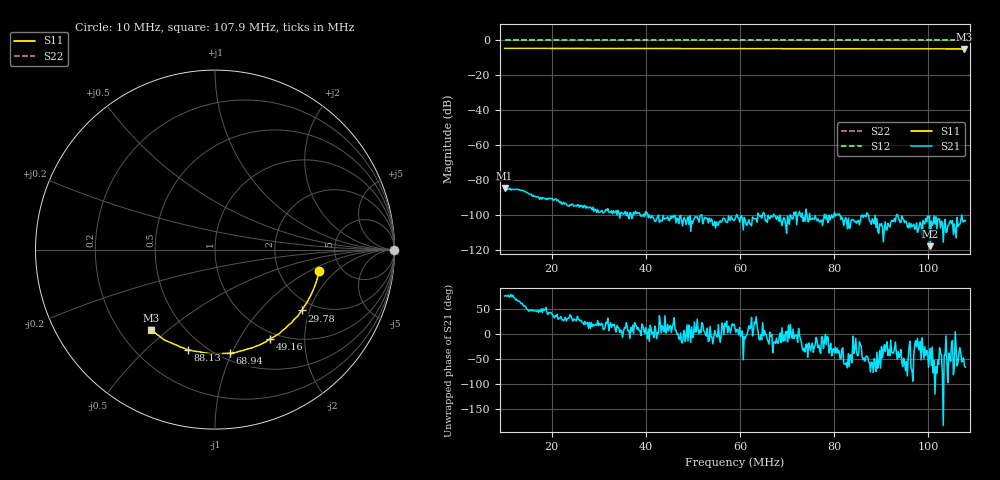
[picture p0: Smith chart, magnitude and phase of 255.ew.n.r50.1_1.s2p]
! Anritsu VNA Master:  Model: MS2036C/10/77
! SN:  1601066
! /card0/usr/255.ew.n.r50.1_1.s2p
! Existing Calibration Information:
! TYPE:  Current Settings,  Active Cal Settings
! TIME:  12/17/2017 06:46:24 PM,  12/17/2017 06:38:14 PM
! INTERNAL TEMP:  43.5 C,  43.8 C
! # POINTS:  501,  501
! START FREQ:  10.000 MHz,  10.000 MHz
! STOP FREQ:  107.903 125 MHz,  107.903 125 MHz
! SOURCE POWER:  High,  High
! IFBW:  100 Hz,  100 Hz
! AVG FACTOR:  1 ,  1
! REF PLANE 1:  0 mm,  0 mm
! REF PLANE 2:  0 mm,  0 mm
! CAL TYPE:  Full S11,  Full S11
! CAL METHOD:  SOLT,  SOLT
! CAL LINE TYPE:  Coax,  Coax
! DUT PORT 1:  N-Conn(F),  N-Conn(F)
! DUT PORT 2:  K-Conn(F),  K-Conn(F)
! CAL STATUS:  OK: Accuracy High,  --
# GHZ S DB R 50.0
! FREQ.GHZ  S11DB  S11A  S21DB  S21A  S12DB  S12A  S22DB  S22A
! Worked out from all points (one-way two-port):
!   501 points, 10 MHz to 107.9 MHz, reference 50 ohm
!   highest |S21| = -84.30 dB at 10 MHz (marker M1); lowest = -117.6 dB at 100.5 MHz (marker M2)
!   lowest |S11| = -4.9 dB at 107.7 MHz (marker M3), VSWR 3.66, Z = 16.5 - j22 ohm
!   |S11| at or under -10 dB: nowhere
!   |S22| runs from 0.0 to 0.0 dB; largest |S21 - S12| = 1
!   S11 on the Smith chart (normalised r, x): 10 MHz: 3.41, -1.26; 29.78 MHz: 1.71, -1.78; 49.16 MHz: 0.91, -1.37; 68.94 MHz: 0.56, -0.98; 88.13 MHz: 0.41, -0.68; 107.9 MHz: 0.33, -0.44
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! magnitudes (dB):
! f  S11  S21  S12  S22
! 10 MHz  -4.5  -84.3  0.0  0.0
! 26.45 MHz  -4.6  -94.4  0.0  0.0
! 29.78 MHz  -4.6  -96.6  0.0  0.0
! 32.91 MHz  -4.6  -99.1  0.0  0.0
! 37.22 MHz  -4.6  -100.0  0.0  0.0
! 38.78 MHz  -4.6  -99.4  0.0  0.0
! 42.7 MHz  -4.6  -99.8  0.0  0.0
! 44.46 MHz  -4.6  -101.7  0.0  0.0
! 49.16 MHz  -4.7  -105.2  0.0  0.0
! 51.9 MHz  -4.6  -99.7  0.0  0.0
! 59.15 MHz  -4.7  -100.7  0.0  0.0
! 68.94 MHz  -4.7  -105.9  0.0  0.0
! 75.4 MHz  -4.7  -101.5  0.0  0.0
! 78.14 MHz  -4.7  -101.8  0.0  0.0
! 83.04 MHz  -4.8  -101.5  0.0  0.0
! 88.13 MHz  -4.8  -101.9  0.0  0.0
! 91.65 MHz  -4.8  -105.9  0.0  0.0
! 94.78 MHz  -4.8  -102.4  0.0  0.0
! 100.5 MHz  -4.8  -117.6  0.0  0.0
! 103.4 MHz  -4.8  -106.1  0.0  0.0
! 107.7 MHz  -4.9  -102.8  0.0  0.0
! 107.9 MHz  -4.9  -103.1  0.0  0.0
